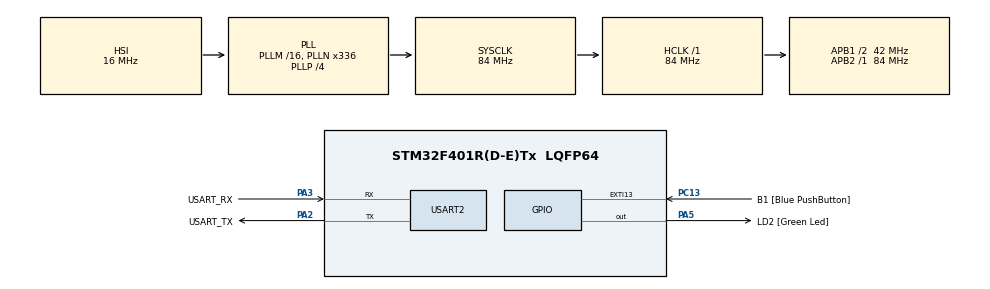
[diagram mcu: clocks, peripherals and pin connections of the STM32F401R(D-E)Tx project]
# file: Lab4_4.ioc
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FREERTOS.Mutexes01=myMutex01,Dynamic,NULL;myMutex02,Dynamic,NULL
FREERTOS.Queues01=myQueue01,16,uint16_t,0,Dynamic,NULL,NULL
FREERTOS.Tasks01=Task1,0,128,StartTask1,Default,NULL,Dynamic,NULL,NULL;Task2,-3,128,StartTask2,Default,NULL,Dynamic,NULL,NULL;messageThread,-3,128,StartmessageThread,Default,NULL,Dynamic,NULL,NULL
Mcu.Family=STM32F4
Mcu.Name=STM32F401R(D-E)Tx
Mcu.Package=LQFP64
NVIC.PriorityGroup=NVIC_PRIORITYGROUP_4
NVIC.TIM1_UP_TIM10_IRQn=true\:15\:0\:false\:false\:true\:false\:false\:true
NVIC.TimeBase=TIM1_UP_TIM10_IRQn
NVIC.TimeBaseIP=TIM1
PA13.GPIO_Label=TMS
PA13.Mode=Serial_Wire
PA13.Signal=SYS_JTMS-SWDIO
PA14.GPIO_Label=TCK
PA14.Mode=Serial_Wire
PA14.Signal=SYS_JTCK-SWCLK
PA2.GPIO_Label=USART_TX
PA2.GPIO_Mode=GPIO_MODE_AF_PP
PA2.GPIO_PuPd=GPIO_NOPULL
PA2.GPIO_Speed=GPIO_SPEED_FREQ_LOW
PA2.Mode=Asynchronous
PA2.Signal=USART2_TX
PA3.GPIO_Label=USART_RX
PA3.GPIO_Mode=GPIO_MODE_AF_PP
PA3.GPIO_PuPd=GPIO_NOPULL
PA3.GPIO_Speed=GPIO_SPEED_FREQ_LOW
PA3.Mode=Asynchronous
PA3.Signal=USART2_RX
PA5.GPIO_Label=LD2 [Green Led]
PA5.GPIO_Mode=GPIO_MODE_OUTPUT_PP
PA5.GPIO_PuPd=GPIO_NOPULL
PA5.GPIO_Speed=GPIO_SPEED_FREQ_LOW
PA5.Signal=GPIO_Output
PB3.GPIO_Label=SWO
PB3.Signal=SYS_JTDO-SWO
PC13-ANTI_TAMP.GPIO_Label=B1 [Blue PushButton]
PC13-ANTI_TAMP.GPIO_ModeDefaultEXTI=GPIO_MODE_IT_FALLING
PC13-ANTI_TAMP.GPIO_PuPd=GPIO_NOPULL
PC13-ANTI_TAMP.Signal=GPXTI13
PC14-OSC32_IN.Mode=LSE-External-Oscillator
PC14-OSC32_IN.Signal=RCC_OSC32_IN
PC15-OSC32_OUT.Mode=LSE-External-Oscillator
PC15-OSC32_OUT.Signal=RCC_OSC32_OUT
PH0\ -\ OSC_IN.Mode=HSE-External-Clock-Source
PH0\ -\ OSC_IN.Signal=RCC_OSC_IN
PH1\ -\ OSC_OUT.Mode=HSE-External-Clock-Source
PH1\ -\ OSC_OUT.Signal=RCC_OSC_OUT
ProjectManager.HeapSize=0x200
ProjectManager.StackSize=0x400
ProjectManager.TargetToolchain=STM32CubeIDE
RCC.48MHZClocksFreq_Value=48000000
RCC.AHBFreq_Value=84000000
RCC.APB1CLKDivider=RCC_HCLK_DIV2
RCC.APB1Freq_Value=42000000
RCC.APB1TimFreq_Value=84000000
RCC.APB2Freq_Value=84000000
RCC.APB2TimFreq_Value=84000000
RCC.CortexFreq_Value=84000000
RCC.HCLKFreq_Value=84000000
RCC.HSE_VALUE=8000000
RCC.HSI_VALUE=16000000
RCC.PLLN=336
RCC.PLLP=RCC_PLLP_DIV4
RCC.PLLQ=7
RCC.SYSCLKFreq_VALUE=84000000
RCC.SYSCLKSource=RCC_SYSCLKSOURCE_PLLCLK
RCC.VCOOutputFreq_Value=336000000
USART2.VirtualMode=VM_ASYNC
VP_FREERTOS_VS_CMSIS_V1.Mode=CMSIS_V1
VP_SYS_VS_tim1.Mode=TIM1
board=NUCLEO-F401RE

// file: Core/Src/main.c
/* USER CODE BEGIN Header */
/**
 ******************************************************************************
 * @file           : main.c
 * @brief          : Main program body
 ******************************************************************************
 * @attention
 *
 * Copyright (c) 2022 STMicroelectronics.
 * All rights reserved.
 *
 * This software is licensed under terms that can be found in the LICENSE file
 * in the root directory of this software component.
 * If no LICENSE file comes with this software, it is provided AS-IS.
 *
 ******************************************************************************
 */
/* USER CODE END Header */
#include "main.h"
#include "cmsis_os.h"

UART_HandleTypeDef huart2;

osThreadId Task1Handle;
osThreadId Task2Handle;
osThreadId messageThreadHandle;
osMessageQId myQueue01Handle;
osMutexId myMutex01Handle;
osMutexId myMutex02Handle;

void SystemClock_Config(void);
static void MX_GPIO_Init(void);
static void MX_USART2_UART_Init(void);
void StartTask1(void const * argument);
void StartTask2(void const * argument);
void StartmessageThread(void const * argument);

/* USER CODE BEGIN 0 */
osPoolDef(mpool, 16, uint16_t);                    // Define memory pool
osPoolId  mpool;
/* USER CODE END 0 */

int main(void)
{

  /* MCU Configuration--------------------------------------------------------*/

  /* Reset of all peripherals, Initializes the Flash interface and the Systick. */
  HAL_Init();

  /* Configure the system clock */
  SystemClock_Config();

  /* Initialize all configured peripherals */
  MX_GPIO_Init();
  MX_USART2_UART_Init();

  /* Create the mutex(es) */
  /* definition and creation of myMutex01 */
  osMutexDef(myMutex01);
  myMutex01Handle = osMutexCreate(osMutex(myMutex01));

  /* definition and creation of myMutex02 */
  osMutexDef(myMutex02);
  myMutex02Handle = osMutexCreate(osMutex(myMutex02));

  /* Create the queue(s) */
  /* definition and creation of myQueue01 */
  osMessageQDef(myQueue01, 16, uint16_t);
  myQueue01Handle = osMessageCreate(osMessageQ(myQueue01), NULL);

  /* Create the thread(s) */
  /* definition and creation of Task1 */
  osThreadDef(Task1, StartTask1, osPriorityNormal, 0, 128);
  Task1Handle = osThreadCreate(osThread(Task1), NULL);

  /* definition and creation of Task2 */
  osThreadDef(Task2, StartTask2, osPriorityIdle, 0, 128);
  Task2Handle = osThreadCreate(osThread(Task2), NULL);

  /* definition and creation of messageThread */
  osThreadDef(messageThread, StartmessageThread, osPriorityIdle, 0, 128);
  messageThreadHandle = osThreadCreate(osThread(messageThread), NULL);

  /* Start scheduler */
  osKernelStart();

  /* We should never get here as control is now taken by the scheduler */
  /* Infinite loop */
	while (1) {

	}
}

void SystemClock_Config(void)
{
  RCC_OscInitTypeDef RCC_OscInitStruct = {0};
  RCC_ClkInitTypeDef RCC_ClkInitStruct = {0};

  /** Configure the main internal regulator output voltage
  */
  __HAL_RCC_PWR_CLK_ENABLE();
  __HAL_PWR_VOLTAGESCALING_CONFIG(PWR_REGULATOR_VOLTAGE_SCALE2);
  /** Initializes the RCC Oscillators according to the specified parameters
  * in the RCC_OscInitTypeDef structure.
  */
  RCC_OscInitStruct.OscillatorType = RCC_OSCILLATORTYPE_HSI;
  RCC_OscInitStruct.HSIState = RCC_HSI_ON;
  RCC_OscInitStruct.HSICalibrationValue = RCC_HSICALIBRATION_DEFAULT;
  RCC_OscInitStruct.PLL.PLLState = RCC_PLL_ON;
  RCC_OscInitStruct.PLL.PLLSource = RCC_PLLSOURCE_HSI;
  RCC_OscInitStruct.PLL.PLLM = 16;
  RCC_OscInitStruct.PLL.PLLN = 336;
  RCC_OscInitStruct.PLL.PLLP = RCC_PLLP_DIV4;
  RCC_OscInitStruct.PLL.PLLQ = 7;
  if (HAL_RCC_OscConfig(&RCC_OscInitStruct) != HAL_OK)
  {
    Error_Handler();
  }
  /** Initializes the CPU, AHB and APB buses clocks
  */
  RCC_ClkInitStruct.ClockType = RCC_CLOCKTYPE_HCLK|RCC_CLOCKTYPE_SYSCLK
                              |RCC_CLOCKTYPE_PCLK1|RCC_CLOCKTYPE_PCLK2;
  RCC_ClkInitStruct.SYSCLKSource = RCC_SYSCLKSOURCE_PLLCLK;
  RCC_ClkInitStruct.AHBCLKDivider = RCC_SYSCLK_DIV1;
  RCC_ClkInitStruct.APB1CLKDivider = RCC_HCLK_DIV2;
  RCC_ClkInitStruct.APB2CLKDivider = RCC_HCLK_DIV1;

  if (HAL_RCC_ClockConfig(&RCC_ClkInitStruct, FLASH_LATENCY_2) != HAL_OK)
  {
    Error_Handler();
  }
}

static void MX_USART2_UART_Init(void)
{

  huart2.Instance = USART2;
  huart2.Init.BaudRate = 115200;
  huart2.Init.WordLength = UART_WORDLENGTH_8B;
  huart2.Init.StopBits = UART_STOPBITS_1;
  huart2.Init.Parity = UART_PARITY_NONE;
  huart2.Init.Mode = UART_MODE_TX_RX;
  huart2.Init.HwFlowCtl = UART_HWCONTROL_NONE;
  huart2.Init.OverSampling = UART_OVERSAMPLING_16;
  if (HAL_UART_Init(&huart2) != HAL_OK)
  {
    Error_Handler();
  }

}

static void MX_GPIO_Init(void)
{
  GPIO_InitTypeDef GPIO_InitStruct = {0};

  /* GPIO Ports Clock Enable */
  __HAL_RCC_GPIOC_CLK_ENABLE();
  __HAL_RCC_GPIOH_CLK_ENABLE();
  __HAL_RCC_GPIOA_CLK_ENABLE();
  __HAL_RCC_GPIOB_CLK_ENABLE();

  /*Configure GPIO pin Output Level */
  HAL_GPIO_WritePin(LD2_GPIO_Port, LD2_Pin, GPIO_PIN_RESET);

  /*Configure GPIO pin : B1_Pin */
  GPIO_InitStruct.Pin = B1_Pin;
  GPIO_InitStruct.Mode = GPIO_MODE_IT_FALLING;
  GPIO_InitStruct.Pull = GPIO_NOPULL;
  HAL_GPIO_Init(B1_GPIO_Port, &GPIO_InitStruct);

  /*Configure GPIO pin : LD2_Pin */
  GPIO_InitStruct.Pin = LD2_Pin;
  GPIO_InitStruct.Mode = GPIO_MODE_OUTPUT_PP;
  GPIO_InitStruct.Pull = GPIO_NOPULL;
  GPIO_InitStruct.Speed = GPIO_SPEED_FREQ_LOW;
  HAL_GPIO_Init(LD2_GPIO_Port, &GPIO_InitStruct);

}

void StartTask1(void const * argument)
{
  /* USER CODE BEGIN 5 */
	int threadID = 0; // threadID is 0 for one thread and 1 for another
	int idx = 0;
	char buffer[32];
	while (1) {
		osMutexWait(myMutex01Handle, osWaitForever);
		sprintf(buffer, "TID: %d %d\r\n", threadID, idx);
		idx++;
		//HAL_UART_Transmit(&huart2, buffer, strlen(buffer), 1000);
		osMessagePut(myQueue01Handle,(uint32_t) buffer, osWaitForever);
		osDelay(10);
		osMutexRelease(myMutex01Handle);
	}
  /* USER CODE END 5 */
}

void StartTask2(void const * argument)
{
  /* USER CODE BEGIN StartTask2 */
	int threadID = 1; // threadID is 0 for one thread and 1 for another
	int idx = 0;
	char buffer[32];
	while (1) {
		osMutexWait(myMutex02Handle, osWaitForever);
		sprintf(buffer, "TID: %d %d\r\n", threadID, idx);
		idx++;
		//HAL_UART_Transmit(&huart2, buffer, strlen(buffer), 1000);
		osMessagePut(myQueue01Handle,(uint32_t) buffer, osWaitForever);
		osDelay(10);
		osMutexRelease(myMutex02Handle);
	}
  /* USER CODE END StartTask2 */
}

void StartmessageThread(void const * argument)
{
  /* USER CODE BEGIN StartmessageThread */
  /* Infinite loop */
  char buffer[32];
  for(;;)
  {
      osEvent evt = osMessageGet(myQueue01Handle,osWaitForever);
      if (evt.status == osEventMessage) {
    	  //snprintf(buffer, sizeof(buffer), "%d", evt.value.v);
    	  //buffer = (char*) evt.value.p;
    	  sprintf(buffer,"%ld", evt.value.v);
    	  HAL_UART_Transmit(&huart2, buffer, strlen(buffer), 1000);

          osPoolFree(mpool, buffer);
      }
  }
  /* USER CODE END StartmessageThread */
}

void HAL_TIM_PeriodElapsedCallback(TIM_HandleTypeDef *htim)
{
  if (htim->Instance == TIM1) {
    HAL_IncTick();
  }
}

void Error_Handler(void)
{
	__disable_irq();
	while (1) {
	}
}
